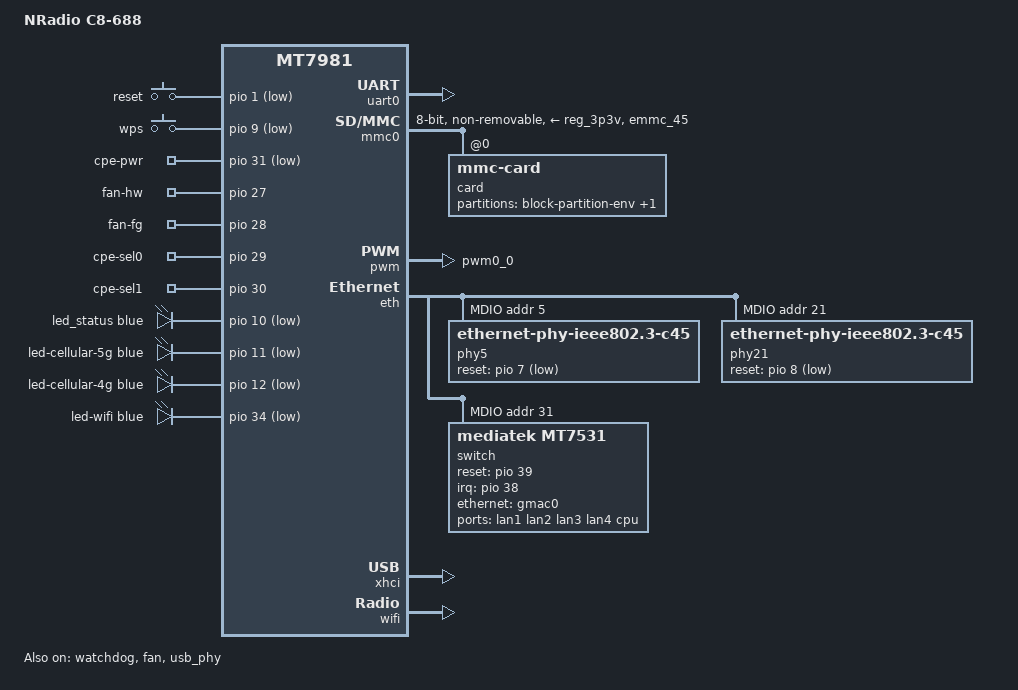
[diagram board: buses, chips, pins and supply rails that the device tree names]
// SPDX-License-Identifier: GPL-2.0-or-later OR MIT
//
// NRadio / 鲲鹏无限 C8-688（MT7981B + MT7531 + eMMC + PWM 风扇 + 5G 模组板）
// 结构参照 in-tree 同门机型 `mt7981b-nradio-c8-668gl.dts`，差异处已注明。
// 放置位置：target/linux/mediatek/dts/mt7981b-nradio-c8-688.dts

/dts-v1/;

#include <dt-bindings/gpio/gpio.h>
#include <dt-bindings/input/input.h>
#include <dt-bindings/leds/common.h>

#include "mt7981b.dtsi"

/ {
	model = "NRadio C8-688";
	compatible = "nradio,c8-688", "mediatek,mt7981";

	aliases {
		ethernet0 = &gmac0;
		ethernet1 = &gmac1;
		led-boot = &led_status;
		led-failsafe = &led_status;
		led-running = &led_status;
		led-upgrade = &led_status;
		serial0 = &uart0;
	};

	chosen {
		stdout-path = "serial0:115200n1";
		/* 原厂双系统：kernel_2nd / rootfs_2nd */
		bootargs = "console=ttyS0,115200n1 root=PARTLABEL=rootfs_2nd rootwait";
	};

	gpio-keys {
		compatible = "gpio-keys";

		reset {
			label = "reset";
			linux,code = <KEY_RESTART>;
			gpios = <&pio 1 GPIO_ACTIVE_LOW>;
		};

		wps {
			label = "wps";
			linux,code = <KEY_WPS_BUTTON>;
			gpios = <&pio 9 GPIO_ACTIVE_LOW>;
		};
	};

	gpio-export {
		compatible = "gpio-export";

		cpepower {
			gpio-export,name = "cpe-pwr";
			gpio-export,output = <0>;
			gpios = <&pio 31 GPIO_ACTIVE_LOW>;
		};

		fanpower {
			gpio-export,name = "fan-hw";
			gpio-export,output = <1>;
			gpios = <&pio 27 GPIO_ACTIVE_HIGH>;
		};

		fanfg {
			gpio-export,name = "fan-fg";
			gpio-export,output = <1>;
			gpios = <&pio 28 GPIO_ACTIVE_HIGH>;
		};

		/* 4 卡槽选卡（原厂 cpesel 用 GPIO29/30 组合，实测这两个脚在跑） */
		cpesel0 {
			gpio-export,name = "cpe-sel0";
			gpio-export,output = <0>;
			gpios = <&pio 29 GPIO_ACTIVE_HIGH>;
		};

		cpesel1 {
			gpio-export,name = "cpe-sel1";
			gpio-export,output = <1>;
			gpios = <&pio 30 GPIO_ACTIVE_HIGH>;
		};
	};

	gpio-leds {
		compatible = "gpio-leds";

		led_status: status {
			color = <LED_COLOR_ID_BLUE>;
			function = LED_FUNCTION_STATUS;
			gpios = <&pio 10 GPIO_ACTIVE_LOW>;
		};

		led-cellular-5g {
			color = <LED_COLOR_ID_BLUE>;
			function = LED_FUNCTION_INDICATOR;
			function-enumerator = <0>;
			gpios = <&pio 11 GPIO_ACTIVE_LOW>;
		};

		led-cellular-4g {
			color = <LED_COLOR_ID_BLUE>;
			function = LED_FUNCTION_INDICATOR;
			function-enumerator = <1>;
			gpios = <&pio 12 GPIO_ACTIVE_LOW>;
		};

		/* C8-688 的 WiFi 指示灯在 GPIO34（C8-668GL 是 13） */
		led-wifi {
			color = <LED_COLOR_ID_BLUE>;
			function = LED_FUNCTION_WLAN;
			gpios = <&pio 34 GPIO_ACTIVE_LOW>;
		};
	};
};

&uart0 {
	status = "okay";
};

&watchdog {
	status = "okay";
};

&mmc0 {
	#address-cells = <1>;
	#size-cells = <0>;
	pinctrl-names = "default", "state_uhs";
	pinctrl-0 = <&mmc0_pins_default>;
	pinctrl-1 = <&mmc0_pins_uhs>;
	bus-width = <8>;
	max-frequency = <52000000>;
	cap-mmc-highspeed;
	vmmc-supply = <&reg_3p3v>;
	non-removable;
	status = "okay";

	card@0 {
		compatible = "mmc-card";
		reg = <0>;

		block {
			compatible = "block-device";
			partitions {
				block-partition-env {
					partname = "u-boot-env";

					nvmem-layout {
						compatible = "u-boot,env";
					};
				};

				block-partition-factory {
					partname = "factory";

					nvmem-layout {
						compatible = "fixed-layout";
						#address-cells = <1>;
						#size-cells = <1>;

						eeprom_factory_0: eeprom@0 {
							reg = <0x0 0x1000>;
						};
					};
				};
			};
		};
	};
};

&pio {
	mmc0_pins_default: mmc0-pins-default {
		mux {
			function = "flash";
			groups = "emmc_45";
		};
	};

	mmc0_pins_uhs: mmc0-pins-uhs {
		mux {
			function = "flash";
			groups = "emmc_45";
		};
	};

	pwm0_pins: pwm0-pins {
		mux {
			function = "pwm";
			groups = "pwm0_0";
		};
	};
};

/* 风扇：PWM0，周期 40us；cooling-levels 由 mt7981b.dtsi 的 fan 节点给出，
 * 实际转速曲线由 Files/C8-688 里的 c8-fan 脚本按 CPU 温度写 hwmon pwm1。 */
&pwm {
	pinctrl-names = "default";
	pinctrl-0 = <&pwm0_pins>;
	status = "okay";
};

&fan {
	pwms = <&pwm 0 40000 0>;
	status = "okay";
};

&eth {
	status = "okay";

	gmac0: mac@0 {
		compatible = "mediatek,eth-mac";
		reg = <0>;
		phy-mode = "2500base-x";

		fixed-link {
			speed = <2500>;
			full-duplex;
			pause;
		};
	};

	/* eth1 = 5G 模组板上行（GPY211 @ MDIO 0x15，即十进制 21） */
	gmac1: mac@1 {
		compatible = "mediatek,eth-mac";
		reg = <1>;
		phy-mode = "2500base-x";
		phy-handle = <&phy21>;
	};

	mdio: mdio-bus {
		#address-cells = <1>;
		#size-cells = <0>;

		phy5: ethernet-phy@5 {
			compatible = "ethernet-phy-ieee802.3-c45";
			reg = <5>;
			reset-gpios = <&pio 7 GPIO_ACTIVE_LOW>;
			reset-assert-us = <600>;
			reset-deassert-us = <20000>;
		};

		/* 原厂 kernel DTB 的 reg 为 0x15；sysfs 的 :15 也是十六进制。
		 * unit-address @15 正确，但 reg=<15> 会错误探测十进制 15（0x0f），
		 * 导致 GPIO8 复位无法释放、eth1 无法挂接 PHY。 */
		phy21: ethernet-phy@15 {
			compatible = "ethernet-phy-ieee802.3-c45";
			reg = <0x15>;
			reset-gpios = <&pio 8 GPIO_ACTIVE_LOW>;
			reset-assert-us = <600>;
			reset-deassert-us = <20000>;
		};

		switch@1f {
			compatible = "mediatek,mt7531";
			reg = <31>;
			reset-gpios = <&pio 39 GPIO_ACTIVE_HIGH>;
			interrupt-controller;
			#interrupt-cells = <1>;
			interrupt-parent = <&pio>;
			interrupts = <38 IRQ_TYPE_LEVEL_HIGH>;

			ports {
				#address-cells = <1>;
				#size-cells = <0>;

				port@1 {
					reg = <1>;
					label = "lan1";
				};

				port@2 {
					reg = <2>;
					label = "lan2";
				};

				port@3 {
					reg = <3>;
					label = "lan3";
				};

				/* 2.5G 口（GPY211 @ mdio 5），原厂默认作第 4 个 LAN */
				port@5 {
					reg = <5>;
					label = "lan4";
					phy-mode = "2500base-x";
					phy-handle = <&phy5>;
				};

				port@6 {
					reg = <6>;
					label = "cpu";
					ethernet = <&gmac0>;
					phy-mode = "2500base-x";

					fixed-link {
						speed = <2500>;
						full-duplex;
						pause;
					};
				};
			};
		};
	};
};

&usb_phy {
	status = "okay";
};

&xhci {
	status = "okay";
};

&wifi {
	nvmem-cells = <&eeprom_factory_0>;
	nvmem-cell-names = "eeprom";
	status = "okay";
};
